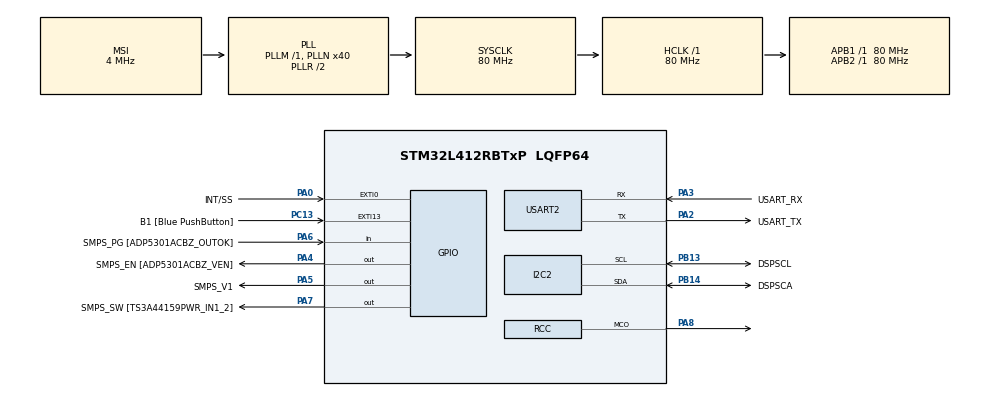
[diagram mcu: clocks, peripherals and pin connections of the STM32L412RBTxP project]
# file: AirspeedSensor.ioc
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I2C2.OwnAddress=0x28
I2C2.Timing=0x10909CEC
Mcu.Family=STM32L4
Mcu.Name=STM32L412RBTxP
Mcu.Package=LQFP64
NVIC.EXTI15_10_IRQn=true\:0\:0\:false\:false\:true\:true\:true\:true
NVIC.PriorityGroup=NVIC_PRIORITYGROUP_4
PA0.GPIO_Label=INT/SS
PA0.Signal=GPXTI0
PA13\ (JTMS/SWDIO).GPIO_Label=TMS
PA13\ (JTMS/SWDIO).Mode=Serial_Wire
PA13\ (JTMS/SWDIO).Signal=SYS_JTMS-SWDIO
PA14\ (JTCK/SWCLK).GPIO_Label=TCK
PA14\ (JTCK/SWCLK).Mode=Serial_Wire
PA14\ (JTCK/SWCLK).Signal=SYS_JTCK-SWCLK
PA2.GPIO_Label=USART_TX
PA2.GPIO_PuPd=GPIO_NOPULL
PA2.GPIO_Speed=GPIO_SPEED_FREQ_VERY_HIGH
PA2.Mode=Asynchronous
PA2.Signal=USART2_TX
PA3.GPIO_Label=USART_RX
PA3.GPIO_PuPd=GPIO_NOPULL
PA3.GPIO_Speed=GPIO_SPEED_FREQ_VERY_HIGH
PA3.Mode=Asynchronous
PA3.Signal=USART2_RX
PA4.GPIO_Label=SMPS_EN [ADP5301ACBZ_VEN]
PA4.Signal=GPIO_Output
PA5.GPIO_Label=SMPS_V1
PA5.GPIO_ModeDefaultOutputPP=GPIO_MODE_OUTPUT_PP
PA5.GPIO_PuPd=GPIO_NOPULL
PA5.GPIO_Speed=GPIO_SPEED_FREQ_LOW
PA5.Signal=GPIO_Output
PA6.GPIO_Label=SMPS_PG [ADP5301ACBZ_OUTOK]
PA6.GPIO_PuPd=GPIO_PULLUP
PA6.Signal=GPIO_Input
PA7.GPIO_Label=SMPS_SW [TS3A44159PWR_IN1_2]
PA7.Signal=GPIO_Output
PA8.Mode=Clock-out
PA8.Signal=RCC_MCO
PB13.GPIO_Label=DSPSCL
PB13.GPIO_Pu=GPIO_PULLUP
PB13.Mode=I2C
PB13.Signal=I2C2_SCL
PB14.GPIO_Label=DSPSCA
PB14.GPIO_Mode=GPIO_MODE_AF_OD
PB14.GPIO_Pu=GPIO_PULLUP
PB14.Mode=I2C
PB14.Signal=I2C2_SDA
PB3\ (JTDO/TRACESWO).GPIO_Label=SWO
PB3\ (JTDO/TRACESWO).Signal=SYS_JTDO-SWO
PC13.GPIO_Label=B1 [Blue PushButton]
PC13.GPIO_ModeDefaultEXTI=GPIO_MODE_IT_FALLING
PC13.GPIO_PuPd=GPIO_NOPULL
PC13.Signal=GPXTI13
PC14-OSC32_IN\ (PC14).Mode=LSE-External-Oscillator
PC14-OSC32_IN\ (PC14).Signal=RCC_OSC32_IN
PC15-OSC32_OUT\ (PC15).Mode=LSE-External-Oscillator
PC15-OSC32_OUT\ (PC15).Signal=RCC_OSC32_OUT
PH0-OSC_IN\ (PH0).GPIO_Label=MCO
PH0-OSC_IN\ (PH0).Mode=HSE-External-Oscillator
PH0-OSC_IN\ (PH0).Signal=RCC_OSC_IN
PH1-OSC_OUT\ (PH1).Mode=HSE-External-Oscillator
PH1-OSC_OUT\ (PH1).Signal=RCC_OSC_OUT
ProjectManager.HeapSize=0x200
ProjectManager.StackSize=0x400
ProjectManager.TargetToolchain=STM32CubeIDE
RCC.ADCFreq_Value=80000000
RCC.AHBFreq_Value=80000000
RCC.APB1Freq_Value=80000000
RCC.APB1TimFreq_Value=80000000
RCC.APB2Freq_Value=80000000
RCC.APB2TimFreq_Value=80000000
RCC.CortexFreq_Value=80000000
RCC.FLatency=FLASH_LATENCY_4
RCC.HCLKFreq_Value=80000000
RCC.HSE_VALUE=8000000
RCC.HSI48_VALUE=48000000
RCC.HSICalibrationValue=16
RCC.HSI_VALUE=16000000
RCC.MSIAutoCalibration=DISABLED
RCC.MSI_VALUE=4000000
RCC.PLLN=40
RCC.PREFETCH_ENABLE=1
RCC.SYSCLKFreq_VALUE=80000000
RCC.SYSCLKSource=RCC_SYSCLKSOURCE_PLLCLK
RCC.USBFreq_Value=4000000
RCC.VCOOutputFreq_Value=160000000
USART2.VirtualMode-Asynchronous=VM_ASYNC
board=NUCLEO-L412RB-P

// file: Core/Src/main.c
/* USER CODE BEGIN Header */
/**
  ******************************************************************************
  * @file           : main.c
  * @brief          : Main program body
  ******************************************************************************
  * @attention
  *
  * Copyright (c) 2022 STMicroelectronics.
  * All rights reserved.
  *
  * This software is licensed under terms that can be found in the LICENSE file
  * in the root directory of this software component.
  * If no LICENSE file comes with this software, it is provided AS-IS.
  *
  ******************************************************************************
  */
/* USER CODE END Header */
#include "main.h"

/* USER CODE BEGIN Includes */
#include <stdio.h>
#include <string.h>
#include <math.h>
/* USER CODE END Includes */

I2C_HandleTypeDef hi2c2;

UART_HandleTypeDef huart2;

/* USER CODE BEGIN PV */
static const uint8_t DP_ADDR = 0x28 << 1; // default addr for this sensor
static const uint8_t REG_TEMP = 0x00;
/* USER CODE END PV */

void SystemClock_Config(void);
static void MX_GPIO_Init(void);
static void MX_USART2_UART_Init(void);
static void MX_I2C2_Init(void);
/* USER CODE BEGIN PFP */
#ifdef __GNUC__
#define PUTCHAR_PROTOTYPE int __io_putchar(int ch)
#else
#define PUTCHAR_PROTOTYPE int fputc(int ch, FILE *f)
#endif

PUTCHAR_PROTOTYPE
{
  HAL_UART_Transmit(&huart2, (uint8_t *)&ch, 1, HAL_MAX_DELAY);
  return ch;
}

/* USER CODE END PFP */

/* USER CODE BEGIN 0 */
HAL_StatusTypeDef ret;
uint8_t buf[16];
uint8_t boof[16];
uint16_t val;
float velocity;
float temp_c;
int t;
/* USER CODE END 0 */

int main(void)
{

  /* MCU Configuration--------------------------------------------------------*/

  /* Reset of all peripherals, Initializes the Flash interface and the Systick. */
  HAL_Init();

  /* Configure the system clock */
  SystemClock_Config();

  /* Initialize all configured peripherals */
  MX_GPIO_Init();
  MX_USART2_UART_Init();
  MX_I2C2_Init();

  /* Infinite loop */
  /* USER CODE BEGIN WHILE */
  ret = HAL_I2C_Master_Transmit(&hi2c2, DP_ADDR, 0, 0, HAL_MAX_DELAY);
  if ( ret != HAL_OK ) {
  	   strcpy((char*)buf, "Error Tx\r\n");
  }
  while (1)
  {
    /* USER CODE END WHILE */

  }
}

void SystemClock_Config(void)
{
  RCC_OscInitTypeDef RCC_OscInitStruct = {0};
  RCC_ClkInitTypeDef RCC_ClkInitStruct = {0};

  /** Configure the main internal regulator output voltage
  */
  if (HAL_PWREx_ControlVoltageScaling(PWR_REGULATOR_VOLTAGE_SCALE1) != HAL_OK)
  {
    Error_Handler();
  }

  /** Initializes the RCC Oscillators according to the specified parameters
  * in the RCC_OscInitTypeDef structure.
  */
  RCC_OscInitStruct.OscillatorType = RCC_OSCILLATORTYPE_MSI;
  RCC_OscInitStruct.MSIState = RCC_MSI_ON;
  RCC_OscInitStruct.MSICalibrationValue = 0;
  RCC_OscInitStruct.MSIClockRange = RCC_MSIRANGE_6;
  RCC_OscInitStruct.PLL.PLLState = RCC_PLL_ON;
  RCC_OscInitStruct.PLL.PLLSource = RCC_PLLSOURCE_MSI;
  RCC_OscInitStruct.PLL.PLLM = 1;
  RCC_OscInitStruct.PLL.PLLN = 40;
  RCC_OscInitStruct.PLL.PLLQ = RCC_PLLQ_DIV2;
  RCC_OscInitStruct.PLL.PLLR = RCC_PLLR_DIV2;
  if (HAL_RCC_OscConfig(&RCC_OscInitStruct) != HAL_OK)
  {
    Error_Handler();
  }

  /** Initializes the CPU, AHB and APB buses clocks
  */
  RCC_ClkInitStruct.ClockType = RCC_CLOCKTYPE_HCLK|RCC_CLOCKTYPE_SYSCLK
                              |RCC_CLOCKTYPE_PCLK1|RCC_CLOCKTYPE_PCLK2;
  RCC_ClkInitStruct.SYSCLKSource = RCC_SYSCLKSOURCE_PLLCLK;
  RCC_ClkInitStruct.AHBCLKDivider = RCC_SYSCLK_DIV1;
  RCC_ClkInitStruct.APB1CLKDivider = RCC_HCLK_DIV1;
  RCC_ClkInitStruct.APB2CLKDivider = RCC_HCLK_DIV1;

  if (HAL_RCC_ClockConfig(&RCC_ClkInitStruct, FLASH_LATENCY_4) != HAL_OK)
  {
    Error_Handler();
  }
  HAL_RCC_MCOConfig(RCC_MCO1, RCC_MCO1SOURCE_SYSCLK, RCC_MCODIV_1);
}

static void MX_I2C2_Init(void)
{

  hi2c2.Instance = I2C2;
  hi2c2.Init.Timing = 0x10909CEC;
  hi2c2.Init.OwnAddress1 = 80;
  hi2c2.Init.AddressingMode = I2C_ADDRESSINGMODE_7BIT;
  hi2c2.Init.DualAddressMode = I2C_DUALADDRESS_DISABLE;
  hi2c2.Init.OwnAddress2 = 0;
  hi2c2.Init.OwnAddress2Masks = I2C_OA2_NOMASK;
  hi2c2.Init.GeneralCallMode = I2C_GENERALCALL_DISABLE;
  hi2c2.Init.NoStretchMode = I2C_NOSTRETCH_DISABLE;
  if (HAL_I2C_Init(&hi2c2) != HAL_OK)
  {
    Error_Handler();
  }

  /** Configure Analogue filter
  */
  if (HAL_I2CEx_ConfigAnalogFilter(&hi2c2, I2C_ANALOGFILTER_ENABLE) != HAL_OK)
  {
    Error_Handler();
  }

  /** Configure Digital filter
  */
  if (HAL_I2CEx_ConfigDigitalFilter(&hi2c2, 0) != HAL_OK)
  {
    Error_Handler();
  }

}

static void MX_USART2_UART_Init(void)
{

  huart2.Instance = USART2;
  huart2.Init.BaudRate = 115200;
  huart2.Init.WordLength = UART_WORDLENGTH_8B;
  huart2.Init.StopBits = UART_STOPBITS_1;
  huart2.Init.Parity = UART_PARITY_NONE;
  huart2.Init.Mode = UART_MODE_TX_RX;
  huart2.Init.HwFlowCtl = UART_HWCONTROL_NONE;
  huart2.Init.OverSampling = UART_OVERSAMPLING_16;
  huart2.Init.OneBitSampling = UART_ONE_BIT_SAMPLE_DISABLE;
  huart2.AdvancedInit.AdvFeatureInit = UART_ADVFEATURE_NO_INIT;
  if (HAL_UART_Init(&huart2) != HAL_OK)
  {
    Error_Handler();
  }

}

static void MX_GPIO_Init(void)
{
  GPIO_InitTypeDef GPIO_InitStruct = {0};

  /* GPIO Ports Clock Enable */
  __HAL_RCC_GPIOC_CLK_ENABLE();
  __HAL_RCC_GPIOH_CLK_ENABLE();
  __HAL_RCC_GPIOA_CLK_ENABLE();
  __HAL_RCC_GPIOB_CLK_ENABLE();

  /*Configure GPIO pin Output Level */
  HAL_GPIO_WritePin(GPIOA, SMPS_EN_Pin|SMPS_V1_Pin|SMPS_SW_Pin, GPIO_PIN_RESET);

  /*Configure GPIO pin : B1_Pin */
  GPIO_InitStruct.Pin = B1_Pin;
  GPIO_InitStruct.Mode = GPIO_MODE_IT_FALLING;
  GPIO_InitStruct.Pull = GPIO_NOPULL;
  HAL_GPIO_Init(B1_GPIO_Port, &GPIO_InitStruct);

  /*Configure GPIO pin : INT_SS_Pin */
  GPIO_InitStruct.Pin = INT_SS_Pin;
  GPIO_InitStruct.Mode = GPIO_MODE_IT_RISING;
  GPIO_InitStruct.Pull = GPIO_NOPULL;
  HAL_GPIO_Init(INT_SS_GPIO_Port, &GPIO_InitStruct);

  /*Configure GPIO pins : SMPS_EN_Pin SMPS_V1_Pin SMPS_SW_Pin */
  GPIO_InitStruct.Pin = SMPS_EN_Pin|SMPS_V1_Pin|SMPS_SW_Pin;
  GPIO_InitStruct.Mode = GPIO_MODE_OUTPUT_PP;
  GPIO_InitStruct.Pull = GPIO_NOPULL;
  GPIO_InitStruct.Speed = GPIO_SPEED_FREQ_LOW;
  HAL_GPIO_Init(GPIOA, &GPIO_InitStruct);

  /*Configure GPIO pin : SMPS_PG_Pin */
  GPIO_InitStruct.Pin = SMPS_PG_Pin;
  GPIO_InitStruct.Mode = GPIO_MODE_INPUT;
  GPIO_InitStruct.Pull = GPIO_PULLUP;
  HAL_GPIO_Init(SMPS_PG_GPIO_Port, &GPIO_InitStruct);

  /*Configure GPIO pin : PA8 */
  GPIO_InitStruct.Pin = GPIO_PIN_8;
  GPIO_InitStruct.Mode = GPIO_MODE_AF_PP;
  GPIO_InitStruct.Pull = GPIO_NOPULL;
  GPIO_InitStruct.Speed = GPIO_SPEED_FREQ_LOW;
  GPIO_InitStruct.Alternate = GPIO_AF0_MCO;
  HAL_GPIO_Init(GPIOA, &GPIO_InitStruct);

  /* EXTI interrupt init*/
  HAL_NVIC_SetPriority(EXTI15_10_IRQn, 0, 0);
  HAL_NVIC_EnableIRQ(EXTI15_10_IRQn);

}

/* USER CODE BEGIN 4 */
HAL_GPIO_EXTI_Callback(uint16_t GPIO_Pin){
	if(GPIO_Pin == GPIO_PIN_10){
		ret = HAL_I2C_Master_Receive(&hi2c2, DP_ADDR, buf, 2, HAL_MAX_DELAY);
		if (ret != HAL_OK ) {
			 printf("Error Rx\r\n");
		} else {
			 val = buf[0]<<8;
			 val |= buf[1]; //val equals differential pressure
			 velocity = 2 * val;
			 velocity = velocity/1.225; //divide by air density
			 velocity = sqrt(velocity); //sqrt to get velocity
			 printf("%u", val);
		}
	}
	ret = HAL_I2C_Master_Transmit(&hi2c2, DP_ADDR, 0, 0, HAL_MAX_DELAY);
	if ( ret != HAL_OK ) {
	  	   printf("Error Tx\r\n");
	}
}
/* USER CODE END 4 */

void Error_Handler(void)
{
  __disable_irq();
  while (1)
  {
  }
}
